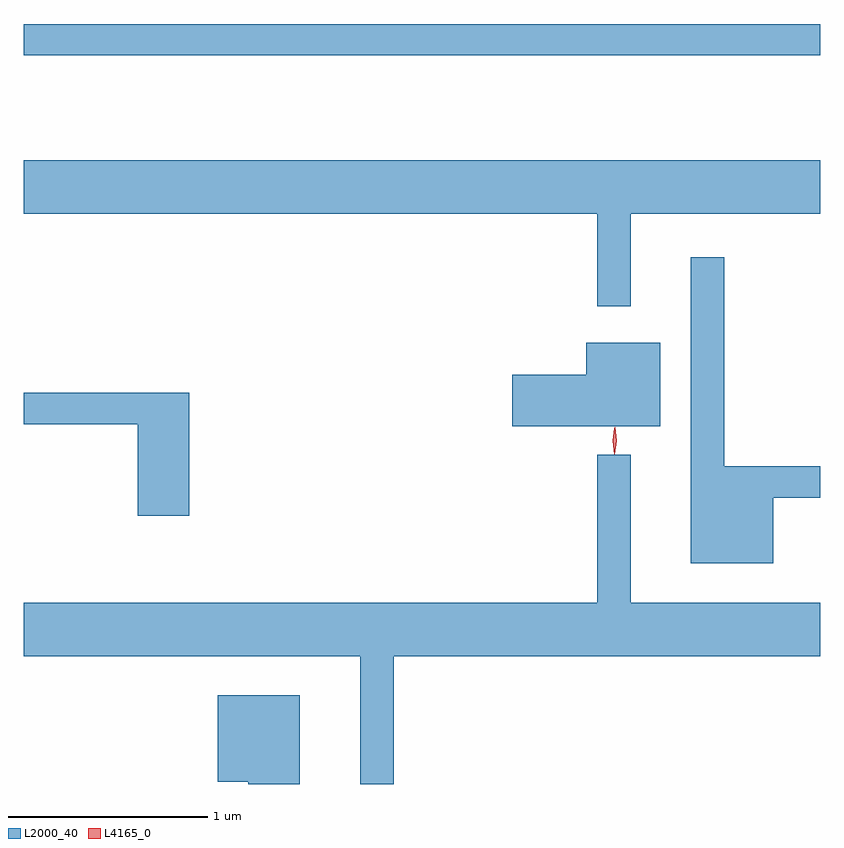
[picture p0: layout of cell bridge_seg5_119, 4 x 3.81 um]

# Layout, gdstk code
import gdstk
lib = gdstk.Library(unit=1e-6, precision=1e-09)
def R(c, l, rs):  # rectangles x0, y0, x1, y1
    for r in rs: c.add(gdstk.rectangle(r[:2], r[2:], *l))
def P(c, l, *ps):  # polygons
    for p in ps: c.add(gdstk.Polygon(p, *l))
L2000_40 = (2000, 40)
L4165_0 = (4165, 0)

bridge_seg5_119 = lib.new_cell('bridge_seg5_119')
R(bridge_seg5_119, L2000_40, [(1019.072,1486.451,1023.072,1486.609)])
P(bridge_seg5_119, L2000_40, [(1022.119,1485.656),(1023.072,1485.656),(1023.072,1485.924),(1019.072,1485.924),(1019.072,1485.656),(1021.951,1485.656),(1021.951,1485.193),(1022.119,1485.193)],
  [(1022.834,1484.231),(1023.072,1484.231),(1023.072,1484.389),(1022.589,1484.389),(1022.589,1485.438),(1022.421,1485.438),(1022.421,1483.901),(1022.834,1483.901)],
  [(1022.269,1485.009),(1021.896,1485.009),(1021.896,1484.849),(1021.526,1484.849),(1021.526,1484.591),(1022.269,1484.591)],
  [(1019.904,1484.759),(1019.072,1484.759),(1019.072,1484.601),(1019.646,1484.601),(1019.646,1484.141),(1019.904,1484.141)],
  [(1020.929,1483.436),(1023.072,1483.436),(1023.072,1483.704),(1022.119,1483.704),(1022.119,1484.448),(1021.951,1484.448),(1021.951,1483.704),(1019.072,1483.704),(1019.072,1483.436),(1020.761,1483.436),(1020.761,1482.794),(1020.929,1482.794)],
  [(1020.459,1483.239),(1020.046,1483.239),(1020.046,1482.806),(1020.201,1482.806),(1020.201,1482.794),(1020.459,1482.794)])
P(bridge_seg5_119, L4165_0, [(1022.038,1484.45),(1022.029,1484.518),(1022.04,1484.586),(1022.04,1484.586),(1022.041,1484.586),(1022.049,1484.518),(1022.039,1484.45),(1022.039,1484.45)],
  [(1022.039,1484.453),(1022.038,1484.454),(1022.029,1484.516),(1022.038,1484.579),(1022.039,1484.58),(1022.039,1484.579),(1022.049,1484.516),(1022.039,1484.454)])

lib.write_gds('bridge_seg5_119.gds')
